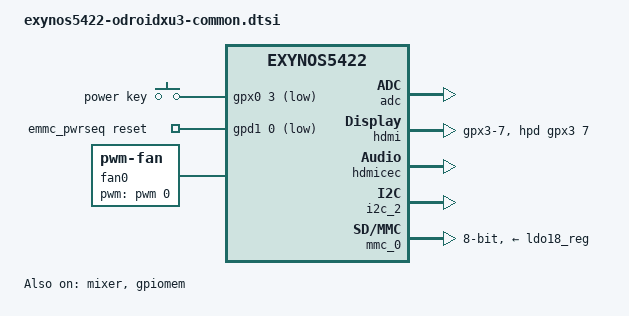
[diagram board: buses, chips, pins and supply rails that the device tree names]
/*
 * Hardkernel Odroid XU3 board device tree source
 *
 * Copyright (c) 2013 Samsung Electronics Co., Ltd.
 *		http://www.samsung.com
 * Copyright (c) 2014 Collabora Ltd.
 * Copyright (c) 2015 Lukasz Majewski <l.majewski@samsung.com>
 *                    Anand Moon <linux.amoon@gmail.com>
 *
 * This program is free software; you can redistribute it and/or modify
 * it under the terms of the GNU General Public License version 2 as
 * published by the Free Software Foundation.
*/

#include <dt-bindings/input/input.h>
#include "exynos5422-odroid-core.dtsi"

/ {
	gpio_keys {
		compatible = "gpio-keys";
		pinctrl-names = "default";
		pinctrl-0 = <&power_key>;

		power_key {
			/*
			 * The power button (SW2) is connected to the PWRON
			 * pin (active high) of the S2MPS11 PMIC, which acts
			 * as a 16ms debouce filter and signal inverter with
			 * output on ONOB pin (active low). ONOB PMIC pin is
			 * then connected to XEINT3 SoC pin.
			 */
			gpios = <&gpx0 3 GPIO_ACTIVE_LOW>;
			linux,code = <KEY_POWER>;
			label = "power key";
			debounce-interval = <0>;
			wakeup-source;
		};
	};

	gpiomem {
		compatible = "samsung,exynos-gpiomem";
		reg = <0x13400000 0x1000>,
		      <0x14010000 0x1000>;
		status = "okay";
	};

	emmc_pwrseq: pwrseq {
		pinctrl-0 = <&emmc_nrst_pin>;
		pinctrl-names = "default";
		compatible = "mmc-pwrseq-emmc";
		reset-gpios = <&gpd1 0 GPIO_ACTIVE_LOW>;
	};

	fan0: pwm-fan {
		compatible = "pwm-fan";
		pwms = <&pwm 0 20972 0>;
		cooling-min-state = <0>;
		cooling-max-state = <3>;
		#cooling-cells = <2>;
		cooling-levels = <0 120 180 240>;
	};

	thermal-zones {
		cpu0_thermal: cpu0-thermal {
			thermal-sensors = <&tmu_cpu0 0>;
			#define CPU_THERMAL_ZONE_NUM 0
			#include "exynos5422-odroidxu3-trip-points.dtsi"
			#undef CPU_THERMAL_ZONE_NUM
		};
		cpu1_thermal: cpu1-thermal {
			thermal-sensors = <&tmu_cpu1 0>;
			#define CPU_THERMAL_ZONE_NUM 1
			#include "exynos5422-odroidxu3-trip-points.dtsi"
			#undef CPU_THERMAL_ZONE_NUM
		};
		cpu2_thermal: cpu2-thermal {
			thermal-sensors = <&tmu_cpu2 0>;
			#define CPU_THERMAL_ZONE_NUM 2
			#include "exynos5422-odroidxu3-trip-points.dtsi"
			#undef CPU_THERMAL_ZONE_NUM
		};
		cpu3_thermal: cpu3-thermal {
			thermal-sensors = <&tmu_cpu3 0>;
			#define CPU_THERMAL_ZONE_NUM 3
			#include "exynos5422-odroidxu3-trip-points.dtsi"
			#undef CPU_THERMAL_ZONE_NUM
		};
	};
};

&adc {
	vdd-supply = <&ldo4_reg>;
	status = "okay";
};

&hdmi {
	status = "okay";
	ddc = <&i2c_2>;
	hpd-gpios = <&gpx3 7 GPIO_ACTIVE_HIGH>;
	pinctrl-names = "default";
	pinctrl-0 = <&hdmi_hpd_irq>;

	vdd_osc-supply = <&ldo7_reg>;
	vdd_pll-supply = <&ldo6_reg>;
	vdd-supply = <&ldo6_reg>;
};

&hdmicec {
	status = "okay";
	needs-hpd;
};

&i2c_2 {
	samsung,i2c-sda-delay = <100>;
	samsung,i2c-max-bus-freq = <66000>;
	/* used by HDMI DDC */
	status = "okay";
};

&mixer {
	status = "okay";
};

&mmc_0 {
	status = "okay";
	mmc-pwrseq = <&emmc_pwrseq>;
	card-detect-delay = <200>;
	samsung,dw-mshc-ciu-div = <3>;
	samsung,dw-mshc-sdr-timing = <0 4>;
	samsung,dw-mshc-ddr-timing = <0 2>;
	samsung,dw-mshc-hs400-timing = <0 2>;
	samsung,read-strobe-delay = <90>;
	pinctrl-names = "default";
	pinctrl-0 = <&sd0_clk &sd0_cmd &sd0_bus1 &sd0_bus4 &sd0_bus8 &sd0_cd &sd0_rclk>;
	bus-width = <8>;
	cap-mmc-highspeed;
	mmc-hs200-1_8v;
	mmc-hs400-1_8v;
	vmmc-supply = <&ldo18_reg>;
	vqmmc-supply = <&ldo3_reg>;
};

&pinctrl_0 {
	power_key: power-key {
		samsung,pins = "gpx0-3";
		samsung,pin-function = <EXYNOS_PIN_FUNC_INPUT>;
		samsung,pin-pud = <EXYNOS_PIN_PULL_NONE>;
		samsung,pin-drv = <EXYNOS5420_PIN_DRV_LV1>;
	};

	hdmi_hpd_irq: hdmi-hpd-irq {
		samsung,pins = "gpx3-7";
		samsung,pin-function = <EXYNOS_PIN_FUNC_INPUT>;
		samsung,pin-pud = <EXYNOS_PIN_PULL_DOWN>;
		samsung,pin-drv = <EXYNOS5420_PIN_DRV_LV1>;
	};
};

&pinctrl_1 {
	emmc_nrst_pin: emmc-nrst {
		samsung,pins = "gpd1-0";
		samsung,pin-function = <EXYNOS_PIN_FUNC_INPUT>;
		samsung,pin-pud = <EXYNOS_PIN_PULL_NONE>;
		samsung,pin-drv = <EXYNOS5420_PIN_DRV_LV1>;
	};
};
